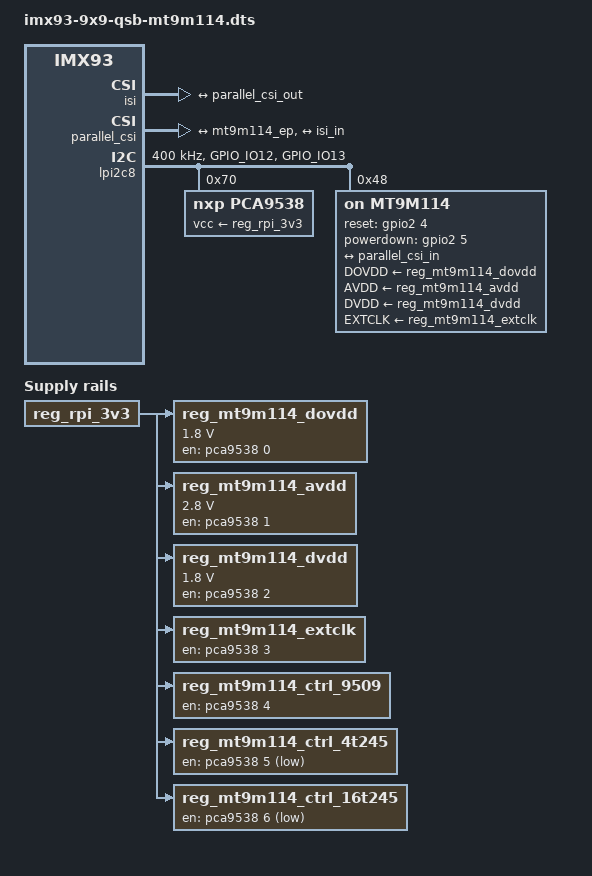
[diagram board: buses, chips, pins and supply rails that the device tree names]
// SPDX-License-Identifier: (GPL-2.0+ OR MIT)
/*
 * Copyright 2022 NXP
 */

#include "imx93-9x9-qsb.dts"
#include <dt-bindings/media/video-interfaces.h>

/ {
	reg_mt9m114_dovdd: regulator-mt9m114-dovdd {
		compatible = "regulator-fixed";
		regulator-name = "mt9m114-dovdd";
		regulator-min-microvolt = <1800000>;
		regulator-max-microvolt = <1800000>;
		startup-delay-us = <0>;
		off-on-delay-us  = <1000>;
		gpio = <&pca9538 0 GPIO_ACTIVE_HIGH>;
		vin-supply = <&reg_rpi_3v3>;
		enable-active-high;
	};

	reg_mt9m114_avdd: regulator-mt9m114-avdd {
		compatible = "regulator-fixed";
		regulator-name = "mt9m114-avdd";
		regulator-min-microvolt = <2800000>;
		regulator-max-microvolt = <2800000>;
		startup-delay-us = <200>;
		off-on-delay-us  = <500>;
		gpio = <&pca9538 1 GPIO_ACTIVE_HIGH>;
		vin-supply = <&reg_rpi_3v3>;
		enable-active-high;
	};

	reg_mt9m114_dvdd: regulator-mt9m114-dvdd {
		compatible = "regulator-fixed";
		regulator-name = "mt9m114-dvdd";
		regulator-min-microvolt = <1800000>;
		regulator-max-microvolt = <1800000>;
		startup-delay-us = <500>;
		off-on-delay-us  = <200>;
		gpio = <&pca9538 2 GPIO_ACTIVE_HIGH>;
		vin-supply = <&reg_rpi_3v3>;
		enable-active-high;
	};

	reg_mt9m114_extclk: regulator-mt9m114-extclk {
		compatible = "regulator-fixed";
		regulator-name = "mt9m114-extclk";
		startup-delay-us = <10000>;
		off-on-delay-us  = <200>;
		gpio = <&pca9538 3 GPIO_ACTIVE_HIGH>;
		vin-supply = <&reg_rpi_3v3>;
		enable-active-high;
	};

	reg_mt9m114_ctrl_9509: regulator-mt9m114-ctrl-9509 {
		compatible = "regulator-fixed";
		regulator-name = "mt9m114-ctrl-9509";
		gpio = <&pca9538 4 GPIO_ACTIVE_HIGH>;
		vin-supply = <&reg_rpi_3v3>;
		enable-active-high;
		regulator-always-on;
	};

	reg_mt9m114_ctrl_4t245: regulator-mt9m114-ctrl-4t245 {
		compatible = "regulator-fixed";
		regulator-name = "mt9m114-ctrl-4t245";
		startup-delay-us = <10000>;
		off-on-delay-us  = <200>;
		gpio = <&pca9538 5 GPIO_ACTIVE_HIGH>;
		vin-supply = <&reg_rpi_3v3>;
		enable-active-low;
	};

	reg_mt9m114_ctrl_16t245: regulator-mt9m114-ctrl-16t245 {
		compatible = "regulator-fixed";
		regulator-name = "mt9m114-ctrl-16t245";
		gpio = <&pca9538 6 GPIO_ACTIVE_HIGH>;
		vin-supply = <&reg_rpi_3v3>;
		enable-active-low;
		regulator-always-on;
	};
};

&iomuxc {
	pinctrl_parallel_csi: ci_pi {
		fsl,pins = <
			MX93_PAD_GPIO_IO01__MEDIAMIX_CAM_DATA00		0xb9e
			MX93_PAD_GPIO_IO07__MEDIAMIX_CAM_DATA01		0xb9e
			MX93_PAD_GPIO_IO08__MEDIAMIX_CAM_DATA02		0xb9e
			MX93_PAD_GPIO_IO09__MEDIAMIX_CAM_DATA03		0xb9e
			MX93_PAD_GPIO_IO10__MEDIAMIX_CAM_DATA04		0xb9e
			MX93_PAD_GPIO_IO11__MEDIAMIX_CAM_DATA05		0xb9e
			MX93_PAD_GPIO_IO14__MEDIAMIX_CAM_DATA06		0xb9e
			MX93_PAD_GPIO_IO15__MEDIAMIX_CAM_DATA07		0xb9e
			MX93_PAD_GPIO_IO17__MEDIAMIX_CAM_DATA08		0xb9e
			MX93_PAD_GPIO_IO18__MEDIAMIX_CAM_DATA09		0xb9e

			MX93_PAD_GPIO_IO00__MEDIAMIX_CAM_CLK		0xb9e
			MX93_PAD_GPIO_IO02__MEDIAMIX_CAM_VSYNC		0xb9e
			MX93_PAD_GPIO_IO03__MEDIAMIX_CAM_HSYNC		0xb9e
			MX93_PAD_GPIO_IO05__GPIO2_IO05			0x31e
			MX93_PAD_GPIO_IO04__GPIO2_IO04			0x31e
		>;
	};

	pinctrl_lpi2c8: lpi2c8grp {
		fsl,pins = <
			MX93_PAD_GPIO_IO12__LPI2C8_SDA		0x40000b9e
			MX93_PAD_GPIO_IO13__LPI2C8_SCL		0x40000b9e
		>;
	};
};

&reg_rpi_3v3 {
	regulator-boot-on;
	status = "okay";
};

&isi{
	status = "okay";

	port {
		isi_in: endpoint {
			remote-endpoint = <&parallel_csi_out>;
		};
	};
};

&parallel_csi {
	status = "okay";

	ports {

		port@0 {
			reg = <0>;

			parallel_csi_in: endpoint {
				remote-endpoint = <&mt9m114_ep>;
			};
		};

		port@1 {
			reg = <1>;

			parallel_csi_out: endpoint {
				remote-endpoint = <&isi_in>;
			};
		};
	};
};

&lpi2c8 {
	#address-cells = <1>;
	#size-cells = <0>;
	clock-frequency = <400000>;
	pinctrl-names = "default";
	pinctrl-0 = <&pinctrl_lpi2c8>;
	pinctrl-1 = <&pinctrl_lpi2c8>;
	pinctrl-assert-gpios = <&pcal6524 22 GPIO_ACTIVE_HIGH>;
	status = "okay";

	pca9538: gpio@70 {
		compatible = "nxp,pca9538";
		reg = <0x70>;
		gpio-controller;
		#gpio-cells = <2>;
		vcc-supply = <&reg_rpi_3v3>;
		status = "okay";
	};

	mt9m114: mt9m114@48 {
		compatible = "on,mt9m114";
		reg = <0x48>;
		pinctrl-names = "default";
		pinctrl-0 = <&pinctrl_parallel_csi>;
		reset-gpios = <&gpio2 4 GPIO_ACTIVE_HIGH>;
		powerdown-gpios = <&gpio2 5 GPIO_ACTIVE_HIGH>;
		DOVDD-supply = <&reg_mt9m114_dovdd>;
		AVDD-supply = <&reg_mt9m114_avdd>;
		DVDD-supply = <&reg_mt9m114_dvdd>;
		EXTCLK-supply = <&reg_mt9m114_extclk>;
		CTRL_4T245-supply = <&reg_mt9m114_ctrl_4t245>;
		mclk = <27000000>;
		status = "okay";

		port {
			mt9m114_ep: endpoint {
				remote-endpoint = <&parallel_csi_in>;
				bus-type = <MEDIA_BUS_TYPE_PARALLEL>;
				bus-width = <8>;
				vsync-active = <1>;
				hsync-active = <1>;
				pclk-sample = <1>;
			};
		};
	};
};

&sai3 {
	status = "disabled";
};
